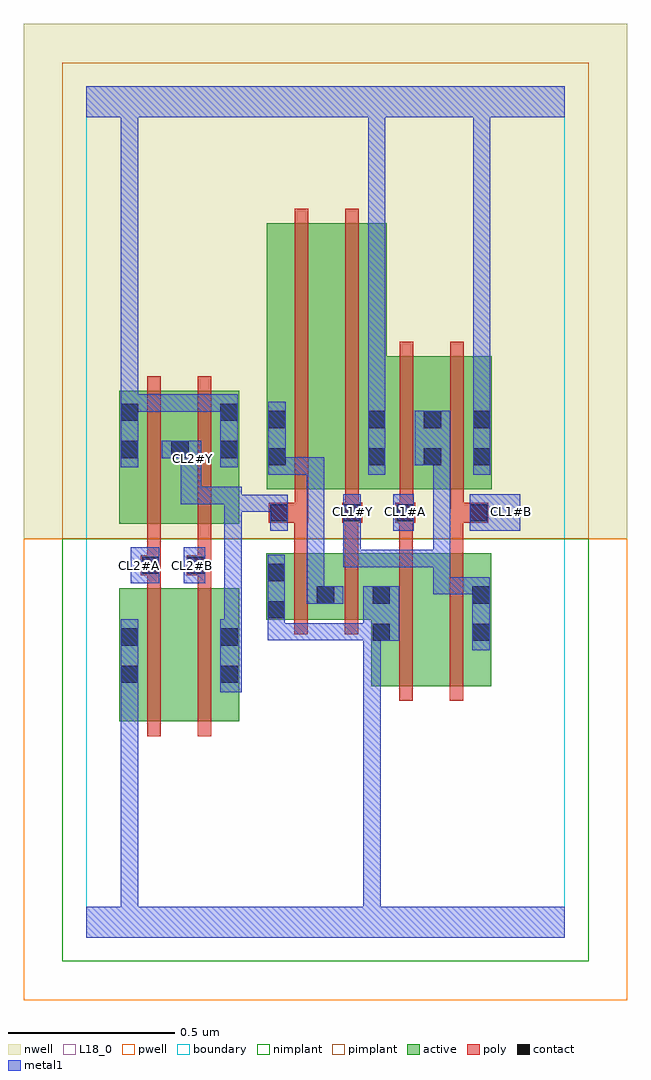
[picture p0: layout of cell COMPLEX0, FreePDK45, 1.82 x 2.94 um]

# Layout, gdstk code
import gdstk
lib = gdstk.Library(unit=1e-6, precision=1e-09)
def R(c, l, rs):  # rectangles x0, y0, x1, y1
    for r in rs: c.add(gdstk.rectangle(r[:2], r[2:], *l))
active = (1, 0)
pwell = (2, 0)
nwell = (3, 0)
nimplant = (4, 0)
pimplant = (5, 0)
poly = (9, 0)
contact = (10, 0)
metal1 = (11, 0)
L18_0 = (18, 0)
boundary = (235, 0)

complex0 = lib.new_cell('COMPLEX0')
R(complex0, active, [(0.1,0.65,0.16,1.05), (0.1,0.65,0.28,1.05), (0.28,0.65,0.46,1.05), (0.4,0.65,0.46,1.05), (0.858,0.756,0.918,1.156), (0.858,0.756,1.038,1.156), (1.038,0.756,1.218,1.156), (1.158,0.756,1.218,1.156), (0.542,0.956,0.602,1.156), (0.542,0.956,0.75,1.156), (0.69,0.956,0.918,1.156), (0.69,0.956,0.75,1.156), (0.1,1.244,0.16,1.644), (0.1,1.244,0.312,1.644), (0.252,1.244,0.46,1.644), (0.4,1.244,0.46,1.644), (0.544,1.348,0.724,2.148), (0.544,1.348,0.604,2.044), (0.724,1.348,0.904,2.148), (0.844,1.348,1.072,1.748), (1.012,1.348,1.072,1.748), (1.012,1.348,1.22,1.748), (1.16,1.348,1.22,1.644), (0.844,1.416,0.904,1.868), (0.252,1.438,0.312,1.644)])
R(complex0, pwell, [(-0.188,-0.188,1.628,1.2)])
R(complex0, nwell, [(-0.188,1.2,1.628,2.748)])
R(complex0, nimplant, [(-0.072,-0.072,1.512,1.2)])
R(complex0, pimplant, [(-0.072,1.2,1.512,2.632)])
R(complex0, poly, [(0.184,0.606,0.224,1.094), (0.336,0.606,0.376,1.094), (0.942,0.712,0.982,1.2), (1.094,0.712,1.134,1.2), (0.626,0.912,0.666,1.2), (0.778,0.912,0.818,1.2), (0.184,1.054,0.224,1.13), (0.336,1.054,0.376,1.13), (0.164,1.09,0.224,1.15), (0.302,1.09,0.376,1.15), (0.184,1.11,0.224,1.15), (0.184,1.11,0.224,1.15), (0.184,1.11,0.224,1.24), (0.336,1.11,0.376,1.15), (0.336,1.11,0.376,1.15), (0.336,1.11,0.376,1.24), (0.626,1.16,0.666,1.288), (0.778,1.16,0.818,1.288), (0.942,1.16,0.982,1.288), (1.094,1.16,1.134,1.288), (0.184,1.2,0.224,1.688), (0.336,1.2,0.376,1.688), (0.55,1.248,0.668,1.308), (0.626,1.248,0.666,1.288), (0.626,1.248,0.666,1.288), (0.77,1.248,0.83,1.308), (0.93,1.248,0.99,1.308), (0.942,1.248,0.982,1.288), (0.942,1.248,0.982,1.288), (1.094,1.248,1.136,1.288), (1.096,1.248,1.136,1.288), (1.096,1.248,1.21,1.308), (0.628,1.268,0.668,1.344), (0.78,1.268,0.82,1.344), (0.78,1.268,0.82,1.308), (0.78,1.268,0.82,1.308), (0.944,1.268,0.984,1.344), (1.096,1.268,1.136,1.344), (0.628,1.304,0.668,2.192), (0.78,1.304,0.82,2.192), (0.944,1.304,0.984,1.792), (1.096,1.304,1.136,1.792)])
R(complex0, contact, [(0.104,0.766,0.156,0.818), (0.404,0.766,0.456,0.818), (0.104,0.878,0.156,0.93), (0.404,0.878,0.456,0.93), (0.862,0.892,0.914,0.944), (1.162,0.892,1.214,0.944), (0.546,0.96,0.598,1.012), (0.694,1.004,0.746,1.056), (0.862,1.004,0.914,1.056), (1.162,1.004,1.214,1.056), (0.546,1.072,0.598,1.124), (0.168,1.094,0.22,1.146), (0.306,1.094,0.358,1.146), (0.554,1.252,0.606,1.304), (0.774,1.252,0.826,1.304), (0.934,1.252,0.986,1.304), (1.154,1.252,1.206,1.304), (0.548,1.42,0.6,1.472), (0.848,1.42,0.9,1.472), (1.016,1.42,1.068,1.472), (1.164,1.42,1.216,1.472), (0.104,1.442,0.156,1.494), (0.256,1.442,0.308,1.494), (0.404,1.442,0.456,1.494), (0.548,1.532,0.6,1.584), (0.848,1.532,0.9,1.584), (1.016,1.532,1.068,1.584), (1.164,1.532,1.216,1.584), (0.104,1.554,0.156,1.606), (0.404,1.554,0.456,1.606)])
R(complex0, metal1, [(0,0,1.44,0.092), (0.104,0.04,0.156,0.092), (0.104,0.04,0.156,0.092), (0.104,0.04,0.156,0.092), (0.104,0.04,0.156,0.092), (0.104,0.04,0.156,0.092), (0.104,0.04,0.156,0.092), (0.104,0.04,0.156,0.092), (0.104,0.04,0.156,0.092), (0.104,0.04,0.156,0.092), (0.104,0.04,0.156,0.092), (0.104,0.04,0.156,0.092), (0.104,0.04,0.156,0.092), (0.104,0.04,0.156,0.79), (0.834,0.04,0.886,0.092), (0.834,0.04,0.886,0.092), (0.834,0.04,0.886,0.092), (0.834,0.04,0.886,0.092), (0.834,0.04,0.886,0.092), (0.834,0.04,0.886,0.092), (0.834,0.04,0.886,0.092), (0.834,0.04,0.886,0.092), (0.834,0.04,0.886,0.092), (0.834,0.04,0.886,0.092), (0.834,0.04,0.886,0.944), (0.104,0.738,0.156,0.958), (0.404,0.738,0.468,0.958), (1.162,0.864,1.214,1.084), (0.834,0.892,0.886,0.944), (0.834,0.892,0.886,0.944), (0.834,0.892,0.942,1.056), (0.546,0.894,0.598,0.946), (0.546,0.894,0.598,0.946), (0.546,0.894,0.598,0.946), (0.546,0.894,0.716,0.946), (0.546,0.894,0.598,0.984), (0.664,0.894,0.716,0.946), (0.664,0.894,0.716,0.946), (0.664,0.894,0.716,0.946), (0.664,0.894,0.886,0.946), (0.416,0.906,0.468,0.958), (0.416,0.906,0.468,0.958), (0.416,0.906,0.468,1.332), (0.546,0.932,0.598,0.984), (0.546,0.932,0.598,0.984), (0.546,0.932,0.598,1.152), (0.664,1.004,0.716,1.356), (0.664,1.004,0.774,1.056), (1.044,1.032,1.096,1.084), (1.044,1.032,1.096,1.166), (1.044,1.032,1.214,1.084), (1.162,1.032,1.214,1.084), (1.162,1.032,1.214,1.084), (0.134,1.066,0.22,1.174), (0.294,1.066,0.358,1.174), (0.774,1.114,1.096,1.166), (0.774,1.114,0.826,1.276), (1.044,1.114,1.096,1.166), (1.044,1.114,1.096,1.166), (1.044,1.114,1.096,1.166), (1.044,1.114,1.096,1.472), (0.554,1.224,0.606,1.332), (0.774,1.224,0.826,1.276), (0.774,1.224,0.826,1.334), (0.924,1.224,0.986,1.334), (1.154,1.224,1.306,1.334), (0.416,1.28,0.606,1.332), (0.416,1.28,0.468,1.356), (0.554,1.28,0.606,1.332), (0.554,1.28,0.606,1.332), (0.284,1.304,0.346,1.494), (0.294,1.304,0.468,1.356), (0.416,1.304,0.468,1.356), (0.416,1.304,0.468,1.356), (0.664,1.304,0.716,1.356), (0.664,1.304,0.716,1.356), (0.664,1.304,0.716,1.356), (0.664,1.304,0.716,1.444), (0.548,1.392,0.6,1.444), (0.548,1.392,0.6,1.444), (0.548,1.392,0.6,1.612), (0.548,1.392,0.716,1.444), (0.664,1.392,0.716,1.444), (0.848,1.392,0.9,1.612), (1.164,1.392,1.216,1.612), (0.104,1.414,0.156,1.634), (0.404,1.414,0.456,1.634), (0.988,1.42,1.096,1.584), (1.044,1.42,1.096,1.472), (1.044,1.42,1.096,1.472), (0.228,1.442,0.336,1.494), (0.284,1.442,0.336,1.494), (0.848,1.56,0.9,1.612), (0.848,1.56,0.9,1.612), (0.848,1.56,0.9,2.52), (1.164,1.56,1.216,1.694), (0.104,1.582,0.156,1.634), (0.104,1.582,0.156,1.634), (0.104,1.582,0.156,1.634), (0.104,1.582,0.156,1.634), (0.104,1.582,0.156,1.634), (0.104,1.582,0.156,1.634), (0.104,1.582,0.156,1.634), (0.104,1.582,0.156,1.634), (0.104,1.582,0.156,1.722), (0.104,1.582,0.346,1.634), (0.294,1.582,0.346,1.634), (0.294,1.582,0.346,1.634), (0.294,1.582,0.346,1.634), (0.294,1.582,0.456,1.634), (1.164,1.642,1.216,1.694), (1.164,1.642,1.216,1.694), (1.164,1.642,1.216,1.694), (1.164,1.642,1.216,1.694), (1.164,1.642,1.216,1.694), (1.164,1.642,1.216,1.694), (1.164,1.642,1.216,1.694), (1.164,1.642,1.216,2.52), (0.104,1.67,0.156,1.722), (0.104,1.67,0.156,1.722), (0.104,1.67,0.156,1.722), (0.104,1.67,0.156,2.52), (0,2.468,1.44,2.56), (0.104,2.468,0.156,2.52), (0.104,2.468,0.156,2.52), (0.104,2.468,0.156,2.52), (0.104,2.468,0.156,2.52), (0.104,2.468,0.156,2.52), (0.104,2.468,0.156,2.52), (0.848,2.468,0.9,2.52), (0.848,2.468,0.9,2.52), (0.848,2.468,0.9,2.52), (0.848,2.468,0.9,2.52), (0.848,2.468,0.9,2.52), (0.848,2.468,0.9,2.52), (1.164,2.468,1.216,2.52), (1.164,2.468,1.216,2.52), (1.164,2.468,1.216,2.52), (1.164,2.468,1.216,2.52), (1.164,2.468,1.216,2.52), (1.164,2.468,1.216,2.52), (1.164,2.468,1.216,2.52), (1.164,2.468,1.216,2.52)])
R(complex0, L18_0, [(0,0,1.44,0.092), (0.104,0.04,0.156,0.092), (0.104,0.04,0.156,0.092), (0.104,0.04,0.156,0.092), (0.104,0.04,0.156,0.092), (0.104,0.04,0.156,0.092), (0.104,0.04,0.156,0.092), (0.104,0.04,0.156,0.092), (0.104,0.04,0.156,0.092), (0.104,0.04,0.156,0.092), (0.104,0.04,0.156,0.092), (0.104,0.04,0.156,0.092), (0.104,0.04,0.156,0.092), (0.104,0.04,0.156,0.79), (0.834,0.04,0.886,0.092), (0.834,0.04,0.886,0.092), (0.834,0.04,0.886,0.092), (0.834,0.04,0.886,0.092), (0.834,0.04,0.886,0.092), (0.834,0.04,0.886,0.092), (0.834,0.04,0.886,0.092), (0.834,0.04,0.886,0.092), (0.834,0.04,0.886,0.092), (0.834,0.04,0.886,0.092), (0.834,0.04,0.886,0.944), (0.104,0.738,0.156,0.958), (0.404,0.738,0.468,0.958), (1.162,0.864,1.214,1.084), (0.834,0.892,0.886,0.944), (0.834,0.892,0.886,0.944), (0.834,0.892,0.942,1.056), (0.546,0.894,0.598,0.946), (0.546,0.894,0.598,0.946), (0.546,0.894,0.598,0.946), (0.546,0.894,0.598,0.984), (0.546,0.894,0.716,0.946), (0.664,0.894,0.716,0.946), (0.664,0.894,0.716,0.946), (0.664,0.894,0.716,0.946), (0.664,0.894,0.886,0.946), (0.416,0.906,0.468,0.958), (0.416,0.906,0.468,0.958), (0.416,0.906,0.468,1.332), (0.546,0.932,0.598,0.984), (0.546,0.932,0.598,0.984), (0.546,0.932,0.598,1.152), (1.044,1.032,1.096,1.084), (1.044,1.032,1.214,1.084), (1.044,1.032,1.096,1.166), (1.162,1.032,1.214,1.084), (1.162,1.032,1.214,1.084), (0.134,1.066,0.22,1.174), (0.294,1.066,0.358,1.174), (0.134,1.094,0.186,1.146), (0.294,1.094,0.346,1.146), (0.774,1.114,0.826,1.276), (0.774,1.114,1.096,1.166), (1.044,1.114,1.096,1.166), (1.044,1.114,1.096,1.166), (1.044,1.114,1.096,1.166), (1.044,1.114,1.096,1.472), (0.554,1.224,0.606,1.332), (0.774,1.224,0.826,1.276), (0.774,1.224,0.826,1.334), (0.924,1.224,0.986,1.334), (1.154,1.224,1.306,1.334), (0.774,1.254,0.826,1.306), (0.934,1.254,0.986,1.306), (1.254,1.254,1.306,1.306), (0.416,1.28,0.468,1.356), (0.416,1.28,0.606,1.332), (0.554,1.28,0.606,1.332), (0.554,1.28,0.606,1.332), (0.284,1.304,0.346,1.494), (0.294,1.304,0.468,1.356), (0.416,1.304,0.468,1.356), (0.416,1.304,0.468,1.356), (0.848,1.392,0.9,1.612), (1.164,1.392,1.216,1.612), (0.104,1.414,0.156,1.634), (0.294,1.414,0.346,1.466), (0.404,1.414,0.456,1.634), (0.988,1.42,1.096,1.584), (1.044,1.42,1.096,1.472), (1.044,1.42,1.096,1.472), (0.228,1.442,0.336,1.494), (0.284,1.442,0.336,1.494), (0.848,1.56,0.9,1.612), (0.848,1.56,0.9,1.612), (0.848,1.56,0.9,2.52), (1.164,1.56,1.216,1.694), (0.104,1.582,0.156,1.634), (0.104,1.582,0.156,1.634), (0.104,1.582,0.156,1.634), (0.104,1.582,0.156,1.634), (0.104,1.582,0.156,1.634), (0.104,1.582,0.156,1.634), (0.104,1.582,0.156,1.634), (0.104,1.582,0.156,1.634), (0.104,1.582,0.156,1.722), (0.104,1.582,0.346,1.634), (0.294,1.582,0.346,1.634), (0.294,1.582,0.346,1.634), (0.294,1.582,0.346,1.634), (0.294,1.582,0.456,1.634), (1.164,1.642,1.216,1.694), (1.164,1.642,1.216,1.694), (1.164,1.642,1.216,1.694), (1.164,1.642,1.216,1.694), (1.164,1.642,1.216,1.694), (1.164,1.642,1.216,1.694), (1.164,1.642,1.216,1.694), (1.164,1.642,1.216,2.52), (0.104,1.67,0.156,1.722), (0.104,1.67,0.156,1.722), (0.104,1.67,0.156,1.722), (0.104,1.67,0.156,2.52), (0,2.468,1.44,2.56), (0.104,2.468,0.156,2.52), (0.104,2.468,0.156,2.52), (0.104,2.468,0.156,2.52), (0.104,2.468,0.156,2.52), (0.104,2.468,0.156,2.52), (0.104,2.468,0.156,2.52), (0.848,2.468,0.9,2.52), (0.848,2.468,0.9,2.52), (0.848,2.468,0.9,2.52), (0.848,2.468,0.9,2.52), (0.848,2.468,0.9,2.52), (0.848,2.468,0.9,2.52), (1.164,2.468,1.216,2.52), (1.164,2.468,1.216,2.52), (1.164,2.468,1.216,2.52), (1.164,2.468,1.216,2.52), (1.164,2.468,1.216,2.52), (1.164,2.468,1.216,2.52), (1.164,2.468,1.216,2.52), (1.164,2.468,1.216,2.52)])
R(complex0, boundary, [(0,0,1.44,2.56)])
complex0.add(gdstk.Label('CL1#A', (0.96,1.28), layer=11, texttype=0))
complex0.add(gdstk.Label('CL1#B', (1.28,1.28), layer=11, texttype=0))
complex0.add(gdstk.Label('CL1#Y', (0.8,1.28), layer=11, texttype=0))
complex0.add(gdstk.Label('CL2#A', (0.16,1.12), layer=11, texttype=0))
complex0.add(gdstk.Label('CL2#B', (0.32,1.12), layer=11, texttype=0))
complex0.add(gdstk.Label('CL2#Y', (0.32,1.44), layer=11, texttype=0))

lib.write_gds('COMPLEX0.gds')
